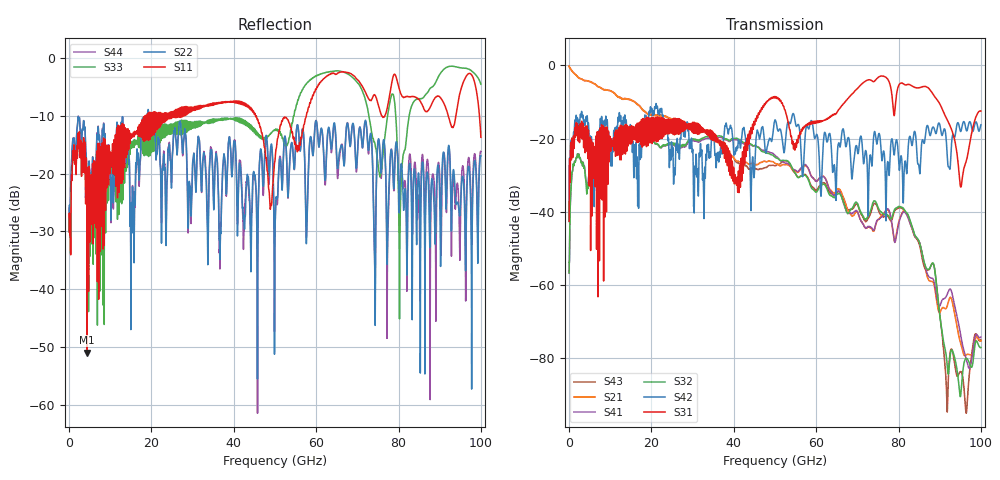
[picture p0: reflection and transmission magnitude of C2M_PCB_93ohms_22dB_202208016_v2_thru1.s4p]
! Info: Touchstone file created by Circ.  Input file=Intel_C2M_200G_8p5in_202208016_staggered.circ
# Hz S RI R 50
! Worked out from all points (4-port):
!   10000 points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, 10 MHz to 100 GHz, reference 50 ohm
!   strongest paths, dB at 10 MHz, 25.01 GHz, 50.01 GHz, 75.01 GHz, 100 GHz:
!     S31: -42.6, -16.9, -8.6, -3.4, -12.5
!     S42: -42.6, -24.6, -14.9, -19.8, -16.3
!     S32: -56.7, -21.5, -25.1, -38.7, -77.0
!     S41: -56.7, -21.7, -24.6, -42.1, -74.1
!     S21: -0.3, -14.7, -26.8, -42.1, -75.2
!     S43: -0.3, -14.7, -27.5, -39.2, -74.9
!   lowest |S11| = -51.0 dB at 4.36 GHz (marker M1), VSWR 1.01, Z = 49.8 - j0.169 ohm
!   |S11| at or under -10 dB: start of sweep to 18.43 GHz; 45.25 GHz to 57.61 GHz (12.36 GHz wide, 24 % of centre); 92.08 GHz to 93.95 GHz (1.866 GHz wide, 2.01 % of centre)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
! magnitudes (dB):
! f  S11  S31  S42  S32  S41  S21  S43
! 10 MHz  -30.1  -42.6  -42.6  -56.7  -56.7  -0.3  -0.3
! 1.22 GHz  -15.5  -22.7  -18.8  -27.0  -27.0  -2.2  -2.2
! 4.36 GHz  -51.0  -16.6  -13.8  -34.3  -33.6  -4.3  -4.3
! 45.41 GHz  -10.1  -15.3  -19.9  -22.1  -22.1  -27.2  -28.4
! 80.9 GHz  -6.7  -4.9  -27.8  -38.8  -40.5  -40.2  -39.1
! 95.16 GHz  -5.4  -33.2  -18.0  -89.4  -74.0  -76.1  -83.6
! 100 GHz  -13.7  -12.5  -16.3  -77.0  -74.1  -75.2  -74.9
